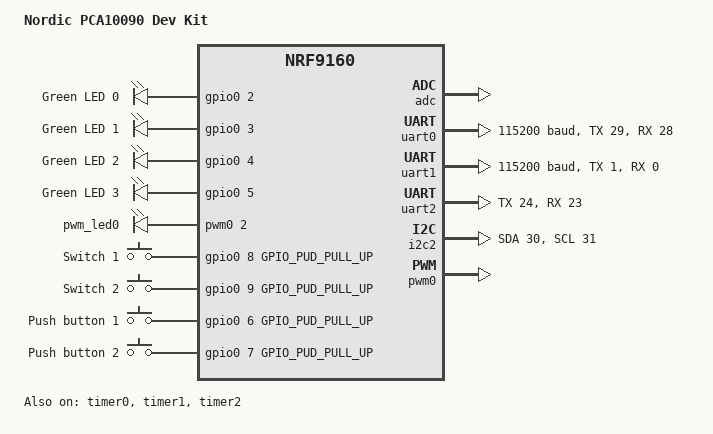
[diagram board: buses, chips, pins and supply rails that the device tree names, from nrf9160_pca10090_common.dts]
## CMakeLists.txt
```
#
# Copyright (c) 2019 Nordic Semiconductor ASA
#
# SPDX-License-Identifier: LicenseRef-BSD-5-Clause-Nordic
#

cmake_minimum_required(VERSION 3.13.1)

include($ENV{ZEPHYR_BASE}/cmake/app/boilerplate.cmake NO_POLICY_SCOPE)
project(JPR)

FILE(GLOB app_sources src/*.c)
target_sources(app PRIVATE ${app_sources})
target_include_directories(app PRIVATE $ENV{ZEPHYR_BASE}/subsys/fs/nvs)

add_subdirectory(src/datetime)
add_subdirectory(src/alarm)
add_subdirectory(src/font)
add_subdirectory(src/image)
add_subdirectory(src/lcd)
add_subdirectory(src/key)
add_subdirectory(src/settings)
add_subdirectory(src/inner_flash)
add_subdirectory(src/external_flash)
add_subdirectory(src/uart_ble)
add_subdirectory(src/imei)
add_subdirectory(src/gps)
add_subdirectory(src/nb)
if(CONFIG_TOUCH_SUPPORT)
add_subdirectory(src/tp)
endif()
if(CONFIG_IMU_SUPPORT)
add_subdirectory(src/imu)
endif()
add_subdirectory(src/screen)
add_subdirectory(src/pmu)
if(CONFIG_PPG_SUPPORT)
add_subdirectory(src/ppg)
endif()
if(CONFIG_AUDIO_SUPPORT)
add_subdirectory(src/audio)
endif()
if(CONFIG_WIFI)
add_subdirectory(src/wifi)
endif()
add_subdirectory(src/sos)
add_subdirectory(src/codetrans)
add_subdirectory(src/ucs2)
add_subdirectory(src/communicate)
add_subdirectory(src/fota)
#add_subdirectory(src/cryptoauthentication)
```

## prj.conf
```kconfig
#
# Copyright (c) 2019 Nordic Semiconductor ASA
#
# SPDX-License-Identifier: LicenseRef-BSD-5-Clause-Nordic
#
# General config
CONFIG_NEWLIB_LIBC=y
CONFIG_NEWLIB_LIBC_FLOAT_PRINTF=y
CONFIG_ASSERT=y
CONFIG_REBOOT=y
CONFIG_GPIO=y
CONFIG_TRUSTED_EXECUTION_NONSECURE=y

# Log
CONFIG_LOG=y
CONFIG_LOG_IMMEDIATE=y
CONFIG_USE_SEGGER_RTT=y
CONFIG_LOG_BACKEND_RTT=y
CONFIG_LOG_BACKEND_UART=n
CONFIG_LOG_DEFAULT_LEVEL=4
CONFIG_LOG_MODE_OVERFLOW=y
CONFIG_LOG_BACKEND_RTT_MODE_DROP=y
CONFIG_LOG_BACKEND_SHOW_COLOR=n
CONFIG_LOG_BACKEND_FORMAT_TIMESTAMP=n

# Modem info
CONFIG_MODEM_INFO=y

# BSD library
CONFIG_BSD_LIBRARY=y
CONFIG_BSD_LIBRARY_TRACE_ENABLED=n

# Flash
CONFIG_FLASH=y
CONFIG_IMG_ERASE_PROGRESSIVELY=y

# NVS
CONFIG_FLASH=y
CONFIG_FLASH_PAGE_LAYOUT=y
CONFIG_NVS=y
CONFIG_NVS_LOG_LEVEL_DBG=y
CONFIG_MPU_ALLOW_FLASH_WRITE=y

# GPS
CONFIG_NRF9160_GPS=y
#CONFIG_GPS_USE_SIM=y
CONFIG_GPS_USE_EXTERNAL=y
CONFIG_GPS_DEV_NAME="NRF9160_GPS"
CONFIG_GPS_CONTROL_PSM_ENABLE_ON_START=y
CONFIG_GPS_CONTROL_FIRST_FIX_CHECK_DELAY=10
CONFIG_GPS_CONTROL_FIX_CHECK_INTERVAL=30
CONFIG_GPS_CONTROL_FIX_TRY_TIME=360
CONFIG_GPS_CONTROL_PSM_DISABLE_ON_STOP=n

# AT_CMD
CONFIG_AT_HOST_LIBRARY=y
CONFIG_UART_INTERRUPT_DRIVEN=y

# Console
CONFIG_CONSOLE_SUBSYS=n
CONFIG_CONSOLE_HANDLER=n
CONFIG_CONSOLE_GETCHAR=n
CONFIG_CONSOLE=n
CONFIG_RTT_CONSOLE=y
CONFIG_UART_CONSOLE=n

# Enable SUPL client support AGPS
CONFIG_SUPL_CLIENT_LIB=n

# Network
CONFIG_NETWORKING=y
CONFIG_NET_NATIVE=n
CONFIG_NET_SOCKETS_OFFLOAD=y
CONFIG_NET_SOCKETS=y
CONFIG_NET_SOCKETS_POSIX_NAMES=y

# LTE link control
CONFIG_LTE_LINK_CONTROL=y
CONFIG_LTE_AUTO_INIT_AND_CONNECT=n
CONFIG_LTE_NETWORK_USE_FALLBACK=n
CONFIG_LTE_NETWORK_TIMEOUT=60
CONFIG_LTE_NETWORK_MODE_LTE_M_GPS=n
CONFIG_LTE_NETWORK_MODE_NBIOT_GPS=y
CONFIG_LTE_LEGACY_PCO_MODE=y

# PSM
CONFIG_LTE_PSM_ENABLE=y
# Set Periodic-TAU timer to 10 minutes and Active-Time to 1 minute.
CONFIG_LTE_PSM_REQ_RPTAU="10101010"
CONFIG_LTE_PSM_REQ_RAT="00100001"

# eDRX
CONFIG_LTE_EDRX_ENABLE=n
CONFIG_LTE_EDRX_REQ_VALUE="1001"

# RAI
CONFIG_LTE_RAI_ENABLE=y

# MQTT
CONFIG_MQTT_LIB=y
CONFIG_MQTT_LIB_TLS=n
CONFIG_MQTT_PUB_TOPIC="device/auri/pushdata"
CONFIG_MQTT_SUB_TOPIC="device/auri/"
CONFIG_MQTT_CLIENT_ID="my-client-id"
CONFIG_MQTT_USER_NAME="admin123"
CONFIG_MQTT_PASSWORD="admin123"
CONFIG_MQTT_BROKER_HOSTNAME="47.107.51.89"
CONFIG_MQTT_BROKER_PORT=1883

# Library for buttons and LEDs
CONFIG_DK_LIBRARY=y
CONFIG_DK_LIBRARY_INVERT_LEDS=n

# Heap and stacks
CONFIG_HEAP_MEM_POOL_SIZE=16384
CONFIG_MAIN_STACK_SIZE=8192
CONFIG_SYSTEM_WORKQUEUE_STACK_SIZE=2048
CONFIG_HW_STACK_PROTECTION=y

# SPI
CONFIG_SPI=y
CONFIG_SPI_NRFX=y
CONFIG_SPI_2=y
CONFIG_SPI_2_NRF_SPIM=y
CONFIG_SPI_3=y
CONFIG_SPI_3_NRF_SPIM=y

# I2C
CONFIG_I2C=y
CONFIG_I2C_NRFX=y
CONFIG_I2C_1=y
CONFIG_I2C_1_NRF_TWIM=y
CONFIG_I2C_2=n
CONFIG_I2C_2_NRF_TWIM=n
CONFIG_I2C_INIT_PRIORITY=60

# UART
CONFIG_SERIAL=y
CONFIG_UART_INTERRUPT_DRIVEN=y

# PPG
CONFIG_PPG_SUPPORT=y

# IMU
CONFIG_IMU_SUPPORT=y

# WIFI
CONFIG_WIFI=n

# TP
CONFIG_TOUCH_SUPPORT=y

# AUDIO
CONFIG_AUDIO_SUPPORT=n

# DEVICE POWER MANAGEMENT
CONFIG_DEVICE_POWER_MANAGEMENT=n

#CONFIG_LOG=n
#CONFIG_SERIAL=n

# fota download
#CONFIG_BSD_LIBRARY_SYS_INIT=n
#CONFIG_FOTA_DOWNLOAD=y
#CONFIG_FOTA_DOWNLOAD_PROGRESS_EVT=y
#CONFIG_FOTA_DOWNLOAD_HOST="biaobiao.vaiwan.com"
#CONFIG_FOTA_DOWNLOAD_FILE="app_update.bin"
#CONFIG_APPLICATION_VERSION=1

# Download client
#CONFIG_DOWNLOAD_CLIENT=y
#CONFIG_DOWNLOAD_CLIENT_TLS=y
#CONFIG_DOWNLOAD_CLIENT_STACK_SIZE=4096

# Image manager
#CONFIG_IMG_MANAGER=y
#CONFIG_FLASH=y
#CONFIG_IMG_ERASE_PROGRESSIVELY=y

# DFU Target
#CONFIG_DFU_TARGET=y

# Modem key management
#CONFIG_MODEM_KEY_MGMT=y

# Application Upgrade support
#CONFIG_BOOTLOADER_MCUBOOT=y
```

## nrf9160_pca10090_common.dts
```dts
/*
 * Copyright (c) 2018 Nordic Semiconductor ASA
 *
 * SPDX-License-Identifier: Apache-2.0
 */

/ {
	model = "Nordic PCA10090 Dev Kit";
	compatible = "nordic,pca10090-dk", "nordic,nrf9160-sica",
		     "nordic,nrf9160";

	chosen {
		zephyr,console = &uart0;
		zephyr,shell-uart = &uart0;
		zephyr,uart-mcumgr = &uart0;
	};

	leds {
		compatible = "gpio-leds";
		led0: led_0 {
			gpios = <&gpio0 2 GPIO_INT_ACTIVE_HIGH>;
			label = "Green LED 0";
		};
		led1: led_1 {
			gpios = <&gpio0 3 GPIO_INT_ACTIVE_HIGH>;
			label = "Green LED 1";
		};
		led2: led_2 {
			gpios = <&gpio0 4 GPIO_INT_ACTIVE_HIGH>;
			label = "Green LED 2";
		};
		led3: led_3 {
			gpios = <&gpio0 5 GPIO_INT_ACTIVE_HIGH>;
			label = "Green LED 3";
		};
	};

	pwmleds {
		compatible = "pwm-leds";
		pwm_led0: pwm_led_0 {
			pwms = <&pwm0 2>;
		};
	};

	buttons {
		compatible = "gpio-keys";
		button0: button_0 {
			gpios = <&gpio0 8 GPIO_PUD_PULL_UP>;
			label = "Switch 1";
		};
		button1: button_1 {
			gpios = <&gpio0 9 GPIO_PUD_PULL_UP>;
			label = "Switch 2";
		};
		button2: button_2 {
			gpios = <&gpio0 6 GPIO_PUD_PULL_UP>;
			label = "Push button 1";
		};
		button3: button_3 {
			gpios = <&gpio0 7 GPIO_PUD_PULL_UP>;
			label = "Push button 2";
		};
	};

	/* These aliases are provided for compatibility with samples */
	aliases {
		led0 = &led0;
		led1 = &led1;
		led2 = &led2;
		led3 = &led3;
		pwm-led0 = &pwm_led0;
		sw0 = &button2;
		sw1 = &button3;
		sw2 = &button0;
		sw3 = &button1;
	};
};

&adc {
	status = "okay";
};

&gpiote {
	status = "okay";
};

&gpio0 {
	status = "okay";
};

&uart0 {
	status = "okay";
	current-speed = <115200>;
	tx-pin = <29>;
	rx-pin = <28>;
	#rts-pin = <27>;
	#cts-pin = <26>;
};

&uart1 {
	status = "okay";
	current-speed = <115200>;
	tx-pin = <1>;
	rx-pin = <0>;
	rts-pin = <14>;
	cts-pin = <15>;
};

&uart2 {
	tx-pin = <24>;
	rx-pin = <23>;
};

&i2c2 {
	compatible = "nordic,nrf-twim";
	status = "okay";
	sda-pin = <30>;
	scl-pin = <31>;
};

&pwm0 {
	status = "okay";
	ch0-pin = <2>;
};

&timer0 {
	status = "okay";
};

&timer1 {
	status = "okay";
};

&timer2 {
	status = "okay";
};

&flash0 {
	/*
	 * For more information, see:
	 * http://docs.zephyrproject.org/latest/guides/dts/index.html#flash-partitions
	 */
	partitions {
		compatible = "fixed-partitions";
		#address-cells = <1>;
		#size-cells = <1>;

		boot_partition: partition@0 {
			label = "mcuboot";
			reg = <0x00000000 0x10000>;
		};
		slot0_partition: partition@10000 {
			label = "image-0";
		};
		slot0_ns_partition: partition@40000 {
			label = "image-0-nonsecure";
		};
		slot1_partition: partition@80000 {
			label = "image-1";
		};
		slot1_ns_partition: partition@b0000 {
			label = "image-1-nonsecure";
		};
		scratch_partition: partition@f0000 {
			label = "image-scratch";
			reg = <0x000f0000 0xa000>;
		};
		storage_partition: partition@fa000 {
			label = "storage";
			reg = <0x000fa000 0x00006000>;
		};
	};
};

/ {
	/* SRAM allocated and used by the BSD library */
	sram0_bsd: memory@20010000 {
		compatible = "mmio-sram";
	};

	/* SRAM allocated to the Non-Secure image */
	sram0_ns: memory@20020000 {
		compatible = "mmio-sram";
	};
};

/* Include partition configuration file */
#include "nrf9160_pca10090_partition_conf.dts"
```

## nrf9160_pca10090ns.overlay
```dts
&spi2{
	compatible = "nordic,nrf-spim";
	status = "okay";
	sck-pin = <3>;
	mosi-pin = <4>;
	miso-pin = <5>;
};

&spi3{
	compatible = "nordic,nrf-spim";
	status = "okay";
	sck-pin = <22>;
	mosi-pin = <20>;
	miso-pin = <20>;
};

&i2c2{
	compatible = "nordic,nrf-twim";
	status = "okay";
	sda-pin = <30>;
	scl-pin = <31>;
	clock-frequency = <I2C_BITRATE_FAST>;
};

&uart1{
	status = "okay";
	current-speed = <115200>;
	tx-pin = <29>;
	rx-pin = <28>;
	#rts-pin = <14>;
	#cts-pin = <15>;
};
```

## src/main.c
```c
/*
* Copyright (c) 2019 Nordic Semiconductor ASA
*
* SPDX-License-Identifier: LicenseRef-BSD-5-Clause-Nordic
*/

#include <nrf9160.h>
#include <zephyr.h>
#include <kernel_structs.h>
#include <device.h>
#include <stdio.h>
#include <sys/printk.h>
#include <power/reboot.h>
#include <drivers/spi.h>
#include <drivers/gpio.h>
#include <dk_buttons_and_leds.h>
#include "lcd.h"
#include "datetime.h"
#include "font.h"
#include "img.h"
#include "inner_flash.h"
#include "external_flash.h"
#include "uart_ble.h"
#include "settings.h"
#ifdef CONFIG_TOUCH_SUPPORT
#include "CST816.h"
#endif
#include "Max20353.h"
#ifdef CONFIG_IMU_SUPPORT
#include "lsm6dso.h"
#endif
#include "Alarm.h"
#include "gps.h"
#include "screen.h"
#include "codetrans.h"
#ifdef CONFIG_AUDIO_SUPPORT
#include "audio.h"
#endif

#include <logging/log_ctrl.h>
#include <logging/log.h>
LOG_MODULE_REGISTER(main, CONFIG_LOG_DEFAULT_LEVEL);

//#define ANALOG_CLOCK
#define DIGITAL_CLOCK
#define PI 3.1415926

static bool sys_pwron_completed_flag = false;
static u8_t show_pic_count = 0;//图片显示顺序

/* Stack definition for application workqueue */
K_THREAD_STACK_DEFINE(nb_stack_area,
		      2048);
static struct k_work_q nb_work_q;

#ifdef CONFIG_IMU_SUPPORT
K_THREAD_STACK_DEFINE(imu_stack_area,
              1024);
static struct k_work_q imu_work_q;
#endif

K_THREAD_STACK_DEFINE(gps_stack_area,
              1024);
static struct k_work_q gps_work_q;

#if defined(ANALOG_CLOCK)
static void test_show_analog_clock(void);
#elif defined(DIGITAL_CLOCK)
static void test_show_digital_clock(void);
#endif
static void idle_show_time(void);

#ifdef ANALOG_CLOCK
void ClearAnalogHourPic(int hour)
{
	u16_t offset_x=4,offset_y=4;
	u16_t hour_x,hour_y,hour_w,hour_h;

	LCD_get_pic_size(clock_hour_1_31X31,&hour_w,&hour_h);
	hour_x = (LCD_WIDTH)/2;
	hour_y = (LCD_HEIGHT)/2;

	if((hour%12) == 3)
		LCD_Fill(hour_x-offset_x,hour_y+offset_y-hour_h,hour_w,hour_h,BLACK);
	else if((hour%12) == 6)
		LCD_Fill(hour_x-offset_x,hour_y-offset_y,hour_w,hour_h,BLACK);
	else if((hour%12) == 9)
		LCD_Fill(hour_x+offset_x-hour_w,hour_y-offset_y,hour_w,hour_h,BLACK);
	else if((hour%12) == 0)
		LCD_Fill(hour_x+offset_x-hour_w,hour_y+offset_y-hour_h,hour_w,hour_h,BLACK);
}

void DrawAnalogHourPic(int hour)
{
	u16_t offset_x=4,offset_y=4;
	u16_t hour_x,hour_y,hour_w,hour_h;
	unsigned int *hour_pic[3] = {clock_hour_1_31X31,clock_hour_2_31X31,clock_hour_3_31X31};

	LCD_get_pic_size(clock_hour_1_31X31,&hour_w,&hour_h);
	hour_x = (LCD_WIDTH)/2;
	hour_y = (LCD_HEIGHT)/2;

	if((hour%12)<3)
		LCD_dis_pic_rotate(hour_x-offset_x,hour_y+offset_y-hour_h,hour_pic[hour%3],0);
	else if(((hour%12)>=3) && ((hour%12)<6))
		LCD_dis_pic_rotate(hour_x-offset_x,hour_y-offset_y,hour_pic[hour%3],90);
	else if(((hour%12)>=6) && ((hour%12)<9))
		LCD_dis_pic_rotate(hour_x+offset_x-hour_w,hour_y-offset_y,hour_pic[hour%3],180);
	else if(((hour%12)>=9) && ((hour%12)<12))
		LCD_dis_pic_rotate(hour_x+offset_x-hour_w,hour_y+offset_y-hour_h,hour_pic[hour%3],270);
}

void ClearAnalogMinPic(int minute)
{
	u16_t offset_x=4,offset_y=4;
	u16_t min_x,min_y,min_w,min_h;
	
	LCD_get_pic_size(clock_min_1_31X31,&min_w,&min_h);
	min_x = (LCD_WIDTH)/2;
	min_y = (LCD_HEIGHT)/2;

	if(minute == 15)
		LCD_Fill(min_x-offset_x,min_y+offset_y-min_h,min_w,min_h,BLACK);
	else if(minute == 30)
		LCD_Fill(min_x-offset_x,min_y-offset_y,min_w,min_h,BLACK);
	else if(minute == 45)
		LCD_Fill(min_x+offset_x-min_w,min_y-offset_y,min_w,min_h,BLACK);
	else if(minute == 0)
		LCD_Fill(min_x+offset_x-min_w,min_y+offset_y-min_h,min_w,min_h,BLACK);
}

void DrawAnalogMinPic(int hour, int minute)
{
	u16_t offset_x=4,offset_y=4;
	u16_t min_x,min_y,min_w,min_h;
	unsigned int *min_pic[15] = {clock_min_1_31X31,clock_min_2_31X31,clock_min_3_31X31,clock_min_4_31X31,clock_min_5_31X31,\
								 clock_min_6_31X31,clock_min_7_31X31,clock_min_8_31X31,clock_min_9_31X31,clock_min_10_31X31,\
								 clock_min_11_31X31,clock_min_12_31X31,clock_min_13_31X31,clock_min_14_31X31,clock_min_15_31X31};
	
	LCD_get_pic_size(clock_min_1_31X31,&min_w,&min_h);
	min_x = (LCD_WIDTH)/2;
	min_y = (LCD_HEIGHT)/2;

	if(minute<15)
	{
		if((hour%12)<3)							//分针时针有重叠，透明显示
		{
			DrawAnalogHourPic(hour);
			LCD_dis_trans_pic_rotate(min_x-offset_x,min_y+offset_y-min_h,min_pic[minute%15],BLACK,0);
		}
		else if((hour%12)==3)		//临界点，分针不透明显示，但是不能遮盖时针
		{
			LCD_dis_pic_rotate(min_x-offset_x,min_y+offset_y-min_h,min_pic[minute%15],0);
			DrawAnalogHourPic(hour);
		}
		else
			LCD_dis_pic_rotate(min_x-offset_x,min_y+offset_y-min_h,min_pic[minute%15],0);
	}
	else if((minute>=15) && (minute<30))
	{
		if(((hour%12)>=3) && ((hour%12)<6))	//分针时针有重叠，透明显示
		{
			DrawAnalogHourPic(hour);
			LCD_dis_trans_pic_rotate(min_x-offset_x,min_y-offset_y,min_pic[minute%15],BLACK,90);
		}
		else if((hour%12)==6)		//临界点，分针不透明显示，但是不能遮盖时针
		{
			LCD_dis_pic_rotate(min_x-offset_x,min_y-offset_y,min_pic[minute%15],90);
			DrawAnalogHourPic(hour);
		}
		else
			LCD_dis_pic_rotate(min_x-offset_x,min_y-offset_y,min_pic[minute%15],90);
	}
	else if((minute>=30) && (minute<45))
	{
		if(((hour%12)>=6) && ((hour%12)<9))	//分针时针有重叠，透明显示
		{
			DrawAnalogHourPic(hour);
			LCD_dis_trans_pic_rotate(min_x+offset_x-min_w,min_y-offset_y,min_pic[minute%15],BLACK,180);
		}
		else if((hour%12)==9)		//临界点，分针不透明显示，但是不能遮盖时针
		{
			LCD_dis_pic_rotate(min_x+offset_x-min_w,min_y-offset_y,min_pic[minute%15],180);
			DrawAnalogHourPic(hour);
		}
		else
			LCD_dis_pic_rotate(min_x+offset_x-min_w,min_y-offset_y,min_pic[minute%15],180);
	}
	else if((minute>=45) && (minute<60))
	{
		if((hour%12)>=9)	//分针时针有重叠，透明显示
		{
			DrawAnalogHourPic(hour);
			LCD_dis_trans_pic_rotate(min_x+offset_x-min_w,min_y+offset_y-min_h,min_pic[minute%15],BLACK,270);
		}
		else if((hour%12)==0)		//临界点，分针不透明显示，但是不能遮盖时针
		{
			LCD_dis_pic_rotate(min_x+offset_x-min_w,min_y+offset_y-min_h,min_pic[minute%15],270);
			DrawAnalogHourPic(hour);
		}
		else
			LCD_dis_pic_rotate(min_x+offset_x-min_w,min_y+offset_y-min_h,min_pic[minute%15],270);
	}
}
#endif

/***************************************************************************
* 描  述 : idle_show_digit_clock 待机界面显示数字时钟
* 入  参 : 无 
* 返回值 : 无
**************************************************************************/
void idle_show_digital_clock(void)
{
	IdleShowSystemTime();
	
	if(show_date_time_first || ((date_time_changed&0x38) != 0))
	{
		IdleShowSystemDate();
		IdleShowSystemWeek();

		if(show_date_time_first)
			show_date_time_first = false;
		if((date_time_changed&0x38) != 0)
			date_time_changed = date_time_changed&0xC7;//清空日期变化标志位
	}
}

#ifdef ANALOG_CLOCK
/***************************************************************************
* 描  述 : idle_show_analog_clock 待机界面显示模拟时钟
* 入  参 : 无 
* 返回值 : 无
**************************************************************************/
void idle_show_analog_clock(void)
{
	u8_t str_date[20] = {0};
	u8_t str_week[20] = {0};
	u8_t *week_cn[7] = {"周日", "周一", "周二", "周三", "周四", "周五", "周六"};
	u8_t *week_en[7] = {"SUN", "MON", "TUE", "WED", "THU", "FRI", "SAT"};
	u16_t str_w,str_h;

	POINT_COLOR=WHITE;								//画笔颜色
	BACK_COLOR=BLACK;  								//背景色 
	
	LCD_SetFontSize(FONT_SIZE_16);

	sprintf((char*)str_date, "%02d/%02d", date_time.day,date_time.month);
	if(global_settings.language == LANGUAGE_CHN)
		strcpy(str_week, week_cn[date_time.week]);
	else
		strcpy(str_week, week_en[date_time.week]);
	
	if(show_date_time_first)
	{
		show_date_time_first = false;
		DrawAnalogHourPic(date_time.hour);
		DrawAnalogMinPic(date_time.hour, date_time.minute);

		LCD_MeasureString(str_week, &str_w, &str_h);
		LCD_ShowString((LCD_WIDTH-str_w)/2, 15, str_week);

		LCD_MeasureString(str_date, &str_w, &str_h);
		LCD_ShowString((LCD_WIDTH-str_w)/2, 33, str_date);
	}
	else if(date_time_changed != 0)
	{
		if((date_time_changed&0x04) != 0)
		{
			DrawAnalogHourPic(date_time.hour);
			date_time_changed = date_time_changed&0xFB;
		}	
		if((date_time_changed&0x02) != 0)//分钟有变化
		{
			DrawAnalogHourPic(date_time.hour);
			DrawAnalogMinPic(date_time.hour, date_time.minute);
			date_time_changed = date_time_changed&0xFD;
		}
		if((date_time_changed&0x38) != 0)
		{
			LCD_MeasureString(str_week, &str_w, &str_h);
			LCD_ShowString((LCD_WIDTH-str_w)/2, 15, str_week);

			LCD_MeasureString(str_date, &str_w, &str_h);
			LCD_ShowString((LCD_WIDTH-str_w)/2, 33, str_date);

			date_time_changed = date_time_changed&0xC7;//清空日期变化标志位
		}
	}
}
#endif

void idle_show_clock_background(void)
{
	LCD_Clear(BLACK);
	BACK_COLOR=BLACK;
	POINT_COLOR=WHITE;
	
	LCD_SetFontSize(FONT_SIZE_16);

#ifdef ANALOG_CLOCK	
	if(global_settings.idle_colck_mode == CLOCK_MODE_ANALOG)
	{
		LCD_dis_pic(0,0,clock_bg_80X160);
	}
#endif
}

/***************************************************************************
* 描  述 : idle_show_time 待机界面显示时间
* 入  参 : 无 
* 返回值 : 无
**************************************************************************/
void idle_show_time(void)
{	
	if(global_settings.idle_colck_mode == CLOCK_MODE_ANALOG)
	{
	#ifdef ANALOG_CLOCK
		if((date_time_changed&0x02) != 0)
		{
			ClearAnalogMinPic(date_time.minute);//擦除以前的分钟
		}
		if((date_time_changed&0x04) != 0)
		{
			ClearAnalogHourPic(date_time.hour);//擦除以前的时钟
		}

		idle_show_analog_clock();
	#endif
	}
	else
	{
	#ifdef DIGITAL_CLOCK
		if((date_time_changed&0x01) != 0)
		{
			date_time_changed = date_time_changed&0xFE;
			BlockWrite((LCD_WIDTH-8*8)/2+6*8,(LCD_HEIGHT-16)/2,2*8,16);//擦除以前的秒钟
		}
		if((date_time_changed&0x02) != 0)
		{
			date_time_changed = date_time_changed&0xFD;
			BlockWrite((LCD_WIDTH-8*8)/2+3*8,(LCD_HEIGHT-16)/2,2*8,16);//擦除以前的分钟
		}
		if((date_time_changed&0x04) != 0)
		{
			date_time_changed = date_time_changed&0xFB;
			BlockWrite((LCD_WIDTH-8*8)/2,(LCD_HEIGHT-16)/2,2*8,16);//擦除以前的时钟
		}
		
		if((date_time_changed&0x38) != 0)
		{			
			BlockWrite((LCD_WIDTH-10*8)/2,(LCD_HEIGHT-16)/2+30,10*8,16);
		}
		
		idle_show_digital_clock();
	#endif
	}
}

void test_show_analog_clock(void)
{
	u32_t err_code;
	
	global_settings.idle_colck_mode = CLOCK_MODE_ANALOG;
	
	idle_show_clock_background();
	idle_show_time();
}

void test_show_digital_clock(void)
{
	u32_t err_code;
	
	global_settings.idle_colck_mode == CLOCK_MODE_DIGITAL;
	
	idle_show_clock_background();
	idle_show_time();
}

void test_show_image(void)
{
	u8_t i=0;
	u16_t x,y,w=0,h=0;

	LOG_INF("test_show_image\n");
	
	LCD_Clear(BLACK);
	
	//LCD_get_pic_size(peppa_pig_160X160, &w, &h);
	//LCD_dis_pic_rotate(0,200,peppa_pig_160X160,270);
	//LCD_dis_pic(0, 0, peppa_pig_160X160);
	LCD_get_pic_size_from_flash(IMG_RM_LOGO_240X240_ADDR, &w, &h);
	LCD_dis_pic_from_flash(0, 0, IMG_RM_LOGO_240X240_ADDR);
	while(0)
	{
		switch(i)
		{
			case 0:
				//LCD_dis_pic(w*0,h*0,peppa_pig_160X160);
				//LCD_dis_trans_pic(w*0,h*0,peppa_pig_80X160,WHITE);
				LCD_dis_pic_from_flash(w*0, h*0, IMG_PEPPA_160X160_ADDR);
				//LCD_dis_pic_rotate((LCD_WIDTH-w)/2,(LCD_HEIGHT-h)/2,peppa_pig_160X160,0);
				//LCD_dis_trans_pic_rotate((LCD_WIDTH-w)/2,(LCD_HEIGHT-h)/2,peppa_pig_160X160,WHITE,0);
				break;
			case 1:
				//LCD_dis_pic(w*1,h*0,peppa_pig_160X160);
				//LCD_dis_trans_pic(w*1,h*0,peppa_pig_80X160,WHITE);
				LCD_dis_pic_from_flash(w*1, h*0, IMG_PEPPA_160X160_ADDR);
				//LCD_dis_pic_rotate((LCD_WIDTH-w)/2,(LCD_HEIGHT-h)/2,peppa_pig_160X160,90);
				//LCD_dis_trans_pic_rotate((LCD_WIDTH-w)/2,(LCD_HEIGHT-h)/2,peppa_pig_160X160,WHITE,90);
				break;
			case 2:
				//LCD_dis_pic(w*1,h*1,peppa_pig_160X160);
				//LCD_dis_trans_pic(w*1,h*1,peppa_pig_80X160,WHITE);
				LCD_dis_pic_from_flash(w*1, h*1, IMG_PEPPA_160X160_ADDR);
				//LCD_dis_pic_rotate((LCD_WIDTH-w)/2,(LCD_HEIGHT-h)/2,peppa_pig_160X160,180);
				//LCD_dis_trans_pic_rotate((LCD_WIDTH-w)/2,(LCD_HEIGHT-h)/2,peppa_pig_160X160,WHITE,180);
				break;
			case 3:
				//LCD_dis_pic(w*0,h*1,peppa_pig_160X160);
				//LCD_dis_trans_pic(w*0,h*1,peppa_pig_80X160,WHITE);
				LCD_dis_pic_from_flash(w*0, h*1, IMG_PEPPA_160X160_ADDR);
				//LCD_dis_pic_rotate((LCD_WIDTH-w)/2,(LCD_HEIGHT-h)/2,peppa_pig_160X160,270);
				//LCD_dis_trans_pic_rotate((LCD_WIDTH-w)/2,(LCD_HEIGHT-h)/2,peppa_pig_160X160,WHITE,270);
				break;
			case 4:
				LCD_Fill(w*0,h*0,w,h,BLACK);
				break;
			case 5:
				LCD_Fill(w*1,h*0,w,h,BLACK);
				break;
			case 6:
				LCD_Fill(w*1,h*1,w,h,BLACK);
				break;
			case 7:
				LCD_Fill(w*0,h*1,w,h,BLACK);
				break;
		}
		
		i++;
		if(i>=8)
			i=0;
		
		k_sleep(K_MSEC(1000));								//软件延时1000ms
	}
}

void test_show_stripe(void)
{
	u16_t x,y,w,h;
	u8_t i;
	u16_t color[] = {WHITE,BLACK,RED,GREEN,BLUE,GBLUE,MAGENTA,CYAN,YELLOW,BROWN,BRRED,GRAY};
	
	h = LCD_HEIGHT/8;

	for(i=0;i<8;i++)
	{
		LCD_Fill(0, h*i, LCD_WIDTH, h, color[i%5]);
	}
}

void test_show_color(void)
{
	u8_t i=0;

	LOG_INF("test_show_image\n");
	
	while(1)
	{
		switch(i)
		{
			case 0:
				LCD_Clear(WHITE);
				break;
			case 1:
				LCD_Clear(BLACK);
				break;
			case 2:
				LCD_Clear(RED);
				break;
			case 3:
				LCD_Clear(GREEN);
				break;
			case 4:
				LCD_Clear(BLUE);
				break;
			case 5:
				LCD_Clear(YELLOW);
				break;
			case 6:
				LCD_Clear(GBLUE);
				break;
			case 7:
				LCD_Clear(MAGENTA);
				break;
			case 8:
				LCD_Clear(CYAN);
				break;
			case 9:
				LCD_Clear(BROWN);
				break;
			case 10:
				LCD_Clear(BRRED);
				break;
			case 11:
				LCD_Clear(GRAY);
				break;					
		}
		
		i++;
		if(i>=12)
			i=0;
		
		k_sleep(K_MSEC(1000));								//软件延时1000ms
	}
}

void test_show_string(void)
{
	u16_t x,y,w,h;
	u8_t enbuf[64] = {0};
	u8_t cnbuf[64] = {0};
	u8_t jpbuf[64] = {0};
	u16_t en_unibuf[64] = {0x0041,0x0075,0x0067,0x0075,0x0073,0x0074,0x0020,0x0053,0x0068,0x0065,0x006E,0x007A,0x0068,0x0065,0x006E,0x0020,0x0044,0x0049,0x0067,0x0049,0x0074,0x0061,0x006C,0x0020,0x004C,0x0074,0x0064,0x0000};
	u16_t cn_unibuf[64] = {0x6DF1,0x5733,0x5E02,0x5965,0x79D1,0x65AF,0x6570,0x7801,0x6709,0x9650,0x516C,0x53F8,0x0000};
	u16_t jp_unibuf[64] = {0x6DF1,0x30BB,0x30F3,0x5E02,0x30AA,0x30FC,0x30B3,0x30B9,0x30C7,0x30B8,0x30BF,0x30EB,0x6709,0x9650,0x4F1A,0x793E,0x0000};

	LCD_Clear(BLACK);
	
	POINT_COLOR=WHITE;								//画笔颜色
	BACK_COLOR=BLACK;  								//背景色 

#ifdef FONTMAKER_UNICODE_FONT
#ifdef FONT_32
	LCD_SetFontSize(FONT_SIZE_32);					//设置字体大小	
#elif defined(FONT_24)
	LCD_SetFontSize(FONT_SIZE_24);					//设置字体大小
#elif defined(FONT_16)
	LCD_SetFontSize(FONT_SIZE_16);					//设置字体大小
#endif
	LCD_MeasureUniString(en_unibuf,&w,&h);
	x = (w > LCD_WIDTH)? 0 : (LCD_WIDTH-w)/2;
	y = 30;	
	LCD_ShowUniString(x,y,en_unibuf);

	LCD_MeasureUniString(cn_unibuf,&w,&h);
	x = (w > LCD_WIDTH)? 0 : (LCD_WIDTH-w)/2;
	y = y + h + 2;
	LCD_ShowUniString(x,y,cn_unibuf);

	LCD_MeasureUniString(jp_unibuf,&w,&h);
	x = (w > LCD_WIDTH)? 0 : (LCD_WIDTH-w)/2;
	y = y + h + 2;
	LCD_ShowUniString(x,y,jp_unibuf);

#if 0
#ifdef FONT_24
	LCD_SetFontSize(FONT_SIZE_24);					//设置字体大小
#endif
	LCD_MeasureUniString(cn_unibuf,&w,&h);
	x = (w > LCD_WIDTH)? 0 : (LCD_WIDTH-w)/2;
	y = y + h + 2;	
	LCD_ShowUniString(x,y,cn_unibuf);
	
	LCD_MeasureUniString(en_unibuf,&w,&h);
	x = (w > LCD_WIDTH)? 0 : (LCD_WIDTH-w)/2;
	y = y + h + 2;	
	LCD_ShowUniString(x,y,en_unibuf);

#ifdef FONT_32
	LCD_SetFontSize(FONT_SIZE_32);					//设置字体大小
#endif
	LCD_MeasureUniString(cn_unibuf,&w,&h);
	x = (w > LCD_WIDTH)? 0 : (LCD_WIDTH-w)/2;
	y = y + h + 2;	
	LCD_ShowUniString(x,y,cn_unibuf);
	
	LCD_MeasureUniString(en_unibuf,&w,&h);
	x = (w > LCD_WIDTH)? 0 : (LCD_WIDTH-w)/2;
	y = y + h + 2;
	LCD_ShowUniString(x,y,en_unibuf);
#endif
//#else
	strcpy(enbuf, "August Shenzhen Digital Ltd");
	strcpy(cnbuf, "深圳市奥科斯数码有限公司");
	strcpy(jpbuf, "深セン市オーコスデジタル有限会社");

#ifdef FONT_32
	LCD_SetFontSize(FONT_SIZE_32);					//设置字体大小	
#elif defined(FONT_24)
	LCD_SetFontSize(FONT_SIZE_24);					//设置字体大小
#elif defined(FONT_16)
	LCD_SetFontSize(FONT_SIZE_16);					//设置字体大小
#endif

	LCD_MeasureString(enbuf,&w,&h);
	x = (w > LCD_WIDTH)? 0 : (LCD_WIDTH-w)/2;
	y = y + h + 2;	
	LCD_ShowString(x,y,enbuf);
	
	LCD_MeasureString(cnbuf,&w,&h);
	x = (w > LCD_WIDTH)? 0 : (LCD_WIDTH-w)/2;
	y = y + h + 2;
	LCD_ShowString(x,y,cnbuf);
	
	LCD_MeasureString(jpbuf,&w,&h);
	x = (w > LCD_WIDTH)? 0 : (LCD_WIDTH-w)/2;
	y = y + h + 2;
	LCD_ShowString(x,y,jpbuf);

#if 0
#ifdef FONT_24
	LCD_SetFontSize(FONT_SIZE_24);					//设置字体大小
#endif
	LCD_MeasureString(cnbuf,&w,&h);
	x = (w > LCD_WIDTH)? 0 : (LCD_WIDTH-w)/2;
	y = y + h + 2;	
	LCD_ShowString(x,y,cnbuf);
	
	LCD_MeasureString(enbuf,&w,&h);
	x = (w > LCD_WIDTH)? 0 : (LCD_WIDTH-w)/2;
	y = y + h + 2;	
	LCD_ShowString(x,y,enbuf);

#ifdef FONT_32
	LCD_SetFontSize(FONT_SIZE_32);					//设置字体大小
#endif
	LCD_MeasureString(cnbuf,&w,&h);
	x = (w > LCD_WIDTH)? 0 : (LCD_WIDTH-w)/2;
	y = y + h + 2;	
	LCD_ShowString(x,y,cnbuf);
	
	LCD_MeasureString(enbuf,&w,&h);
	x = (w > LCD_WIDTH)? 0 : (LCD_WIDTH-w)/2;
	y = y + h + 2;
	LCD_ShowString(x,y,enbuf);
#endif
#endif
}

void system_init(void)
{
#ifdef CONFIG_FOTA_DOWNLOAD
	fota_init();
#endif

	InitSystemSettings();

	pmu_init();
	flash_init();
	LCD_Init();
	
	ShowBootUpLogo();

	key_init();
	ble_init();
#ifdef CONFIG_PPG_SUPPORT	
	PPG_init();
#endif
#ifdef CONFIG_IMU_SUPPORT
	IMU_init(&imu_work_q);
#endif
	NB_init(&nb_work_q);
	GPS_init(&gps_work_q);

	EnterIdleScreen();
}

void work_init(void)
{
	k_work_q_start(&nb_work_q, nb_stack_area,
					K_THREAD_STACK_SIZEOF(nb_stack_area),
					CONFIG_APPLICATION_WORKQUEUE_PRIORITY);
#ifdef CONFIG_IMU_SUPPORT	
	k_work_q_start(&imu_work_q, imu_stack_area,
					K_THREAD_STACK_SIZEOF(imu_stack_area),
					CONFIG_APPLICATION_WORKQUEUE_PRIORITY);
#endif
	k_work_q_start(&gps_work_q, gps_stack_area,
					K_THREAD_STACK_SIZEOF(gps_stack_area),
					CONFIG_APPLICATION_WORKQUEUE_PRIORITY);	
}

bool system_is_completed(void)
{
	return sys_pwron_completed_flag;
}

void system_init_completed(void)
{
	if(!sys_pwron_completed_flag)
		sys_pwron_completed_flag = true;
}

/***************************************************************************
* 描  述 : main函数 
* 入  参 : 无 
* 返回值 : int 类型
**************************************************************************/
int main(void)
{
	work_init();
	system_init();

//	test_show_string();
//	test_show_image();
//	test_show_color();
//	test_show_stripe();
//	test_nvs();
//	test_flash();
//	test_uart_ble();
//	test_sensor();
//	test_show_digital_clock();
//	test_sensor();
//	test_pmu();
//	test_crypto();
//	test_imei();
//	test_tp();
//	test_gps_on();
//	test_nb();
//	test_i2c();
//	test_bat_soc();

	while(1)
	{
		TimeMsgProcess();
		NBMsgProcess();
		GPSMsgProcess();
		PMUMsgProcess();
	#ifdef CONFIG_IMU_SUPPORT	
		IMUMsgProcess();
	#endif
	#ifdef CONFIG_PPG_SUPPORT	
		PPGMsgProcess();
	#endif
		LCDMsgProcess();
	#ifdef CONFIG_TOUCH_SUPPORT
		TPMsgProcess();
	#endif
		AlarmMsgProcess();
		SettingsMsgPorcess();
		SOSMsgProc();
		UartMsgProc();
		ScreenMsgProcess();
	#ifdef CONFIG_FOTA_DOWNLOAD
		FotaMsgProc();
	#endif
		system_init_completed();
		k_cpu_idle();
	}
}
```
